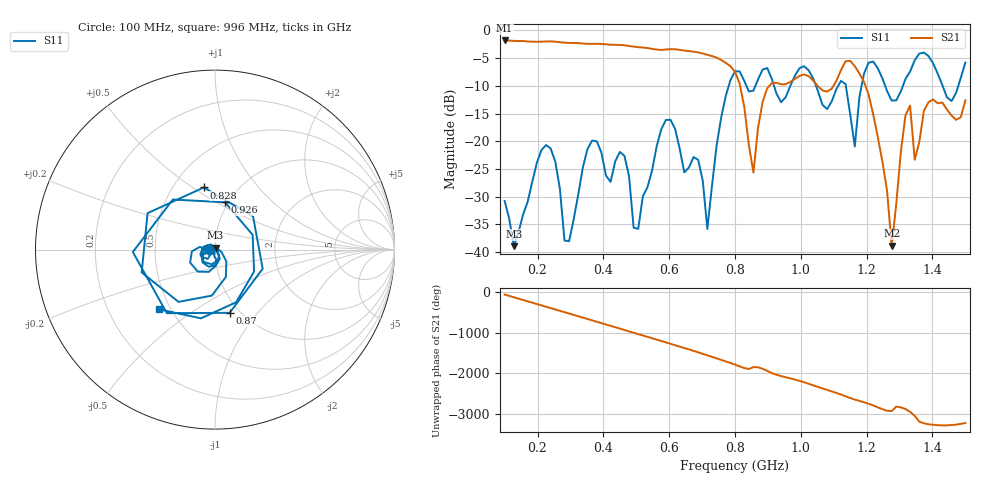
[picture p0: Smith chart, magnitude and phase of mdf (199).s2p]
! NanoVNA-App
! Date: 2025-09-25 15:39:58
! Start: 100MHz Stop: 1,5GHz Points: 101
! S-Parameter data: F S11 S21 S12 S22
# Hz S RI R 50
!  Frequency  S11_Real  S11_Imag  S21_Real  S21_Imag  S12_Real  S12_Imag  S22_Real  S22_Imag
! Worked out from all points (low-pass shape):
!   101 points, 100 MHz to 1.5 GHz, reference 50 ohm
!   highest |S21| = -1.80 dB at 100 MHz (marker M1); lowest = -38.9 dB at 1.276 GHz (marker M2)
!   |S21| within 3 dB of the highest: start of sweep to 739.1 MHz
!   lowest |S11| = -38.9 dB at 128 MHz (marker M3), VSWR 1.02, Z = 50.3 + j1.08 ohm
!   |S11| at or under -10 dB: start of sweep to 781 MHz; 918.6 MHz to 968 MHz (49.45 MHz wide, 5.24 % of centre); 1.046 GHz to 1.113 GHz (67.43 MHz wide, 6.24 % of centre) (the widest 3 of 7)
!   S12 and S22 are empty: the file has one direction only
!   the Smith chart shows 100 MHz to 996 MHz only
!   S11 on the Smith chart (normalised r, x): 100 MHz: 0.94, -0.01; 828 MHz: 0.70, +0.56; 870 MHz: 0.90, -0.73; 926 MHz: 0.97, +0.55; 996 MHz: 0.43, -0.36
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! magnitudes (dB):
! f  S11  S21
! 100 MHz  -30.8  -1.8
! 128 MHz  -38.9  -1.9
! 212 MHz  -21.6  -2.0
! 282 MHz  -37.9  -2.2
! 338 MHz  -24.7  -2.4
! 464 MHz  -22.6  -2.7
! 506 MHz  -35.8  -3.0
! 576 MHz  -17.8  -3.5
! 716 MHz  -35.8  -4.4
! 800 MHz  -7.4  -7.5
! 828 MHz  -9.1  -13.7
! 856 MHz  -10.9  -25.7
! 870 MHz  -8.8  -17.6
! 926 MHz  -11.4  -9.4
! 996 MHz  -6.8  -8.2
! 1.038 GHz  -8.7  -9.1
! 1.164 GHz  -20.9  -6.4
! 1.192 GHz  -7.8  -9.3
! 1.276 GHz  -12.7  -38.9
! 1.332 GHz  -7.4  -13.6
! 1.346 GHz  -5.4  -23.3
! 1.5 GHz  -5.8  -12.6
